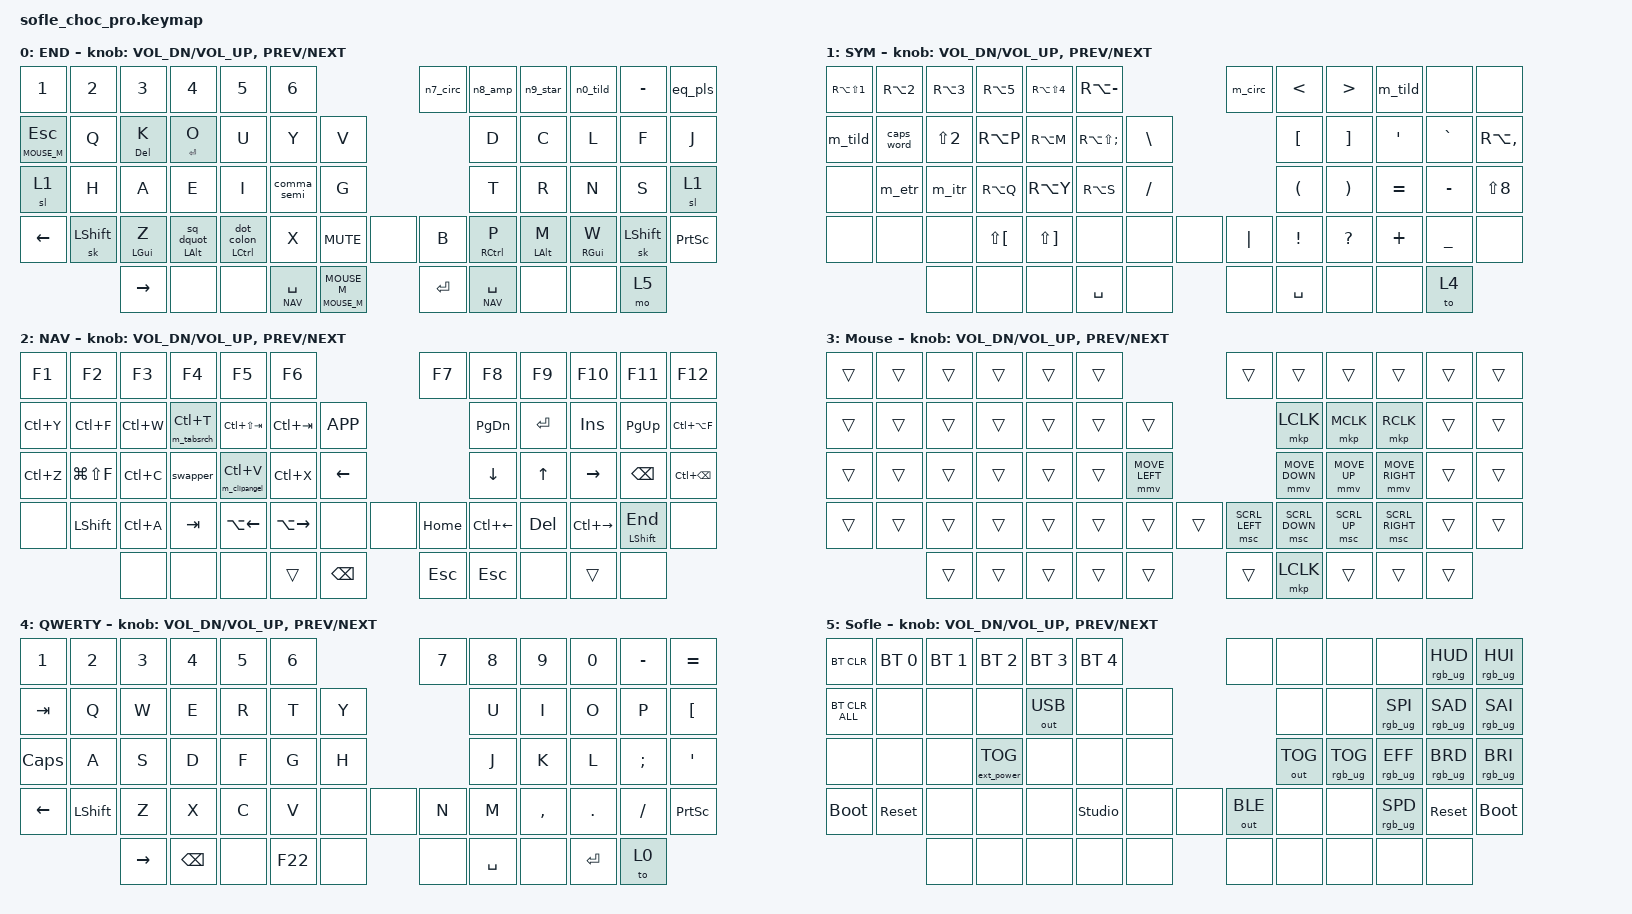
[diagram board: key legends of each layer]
/*
 * anymak:END for Sofle Choc Pro BT -- ZMK port
 * Ported from QMK Lily58 (holykeebs) keymap_v29.c
 *
 * OS layout assumed: Windows US International (Right-Alt = AltGr)
 *
 * Layers:
 *   0  END       base layer (anymak:END)
 *   1  SYM       symbols, diacritics, special characters
 *   2  NAV       navigation + editor shortcuts (SpaceFn)
 *   3  MOUSE_M   empty layer reserved for custom macros, mouse controls,
 *                and DaVinci Resolve shortcuts
 *   4  QWERTY    passthrough for Kanata on host
 *   5  sofle     profile management, output select, Studio unlock
 *
 *
 * ── Build requirement: zmk-tri-state module ────────────────────────────────
 * The `swapper` behavior (real Alt-Tab, see below) uses
 * `compatible = "zmk,behavior-tri-state"`, which is NOT part of mainline
 * ZMK -- it must be pulled in as an external module. Add this entry to
 * config/west.yml under `manifest: projects:` (alongside the existing zmkfirmware/zmk
 * entry, keep everything else in that file as-is):
 *
 *   - name: zmk-tri-state
 *     remote: urob
 *     revision: main
 *
 * and this to `remotes:` if not already present:
 *
 *   - name: urob
 *     url-base: https://github.com/urob
 *
 * Then add `- zmk-tri-state` to the `shield`/`board` build's module list if
 * your build.yaml enumerates modules explicitly (most GitHub Actions setups
 * pick it up automatically once it's a west project). Without this module
 * the firmware will fail to build, not silently ignore `&swapper`.
 *
 *
 * ── Other differences from the QMK version ────────────────────────────────
 *   - POINTER layer removed -- no pointing device on this board.
 *   - M_ETR/M_ITR: ZMK macros cannot detect shift state; two separate macro
 *     bindings are provided: m_etr (e) / m_etr_u (E) and m_itr (i) / m_itr_u
 *     (I),  the uppercase version not assigned yet
 *   - CapsWord: ZMK's built-in &caps_word is used (breaks on Space).
 *   - raw_hid layer-visualiser communication: no ZMK equivalent; omitted.
 *
 */

#define ZMK_POINTING_DEFAULT_MOVE_VAL 1000 // 600
#define ZMK_POINTING_DEFAULT_SCRL_VAL 20  // 10

#include <behaviors.dtsi>
#include <dt-bindings/zmk/bt.h>
#include <dt-bindings/zmk/ext_power.h>
#include <dt-bindings/zmk/keys.h>
#include <dt-bindings/zmk/outputs.h>
#include <dt-bindings/zmk/pointing.h>
#include <dt-bindings/zmk/rgb.h>

// ── Layer indices ─────────────────────────────────────────────────────────

#define ENDE      0
#define SYM       1
#define NAV       2
#define MOUSE_M   3
#define QWERTY    4
#define SOFLE     5

// ── Timing ─────────────────────────────────────────────────────────────────

#define DUAL_ROLE_HOLD_TAP   280
#define HT_TERM   220
#define SPC_TERM  200

// ── Mouse cursor acceleration ───────────────────────────────────────────────
// &mmv is zmk,behavior-input-two-axis (app/dts/bindings/behaviors/
// zmk,behavior-input-two-axis.yaml). Its label is already resolvable here
// because <dt-bindings/zmk/pointing.h> (included above) is what brings the
// mmv/msc behavior nodes into scope -- this block just overrides two of its
// properties, it doesn't redefine the behavior.
//   time-to-max-speed-ms: how long you have to hold a direction before the
//     cursor reaches full speed. ZMK's default is 300 -- quite quick, so it
//     barely feels like it's accelerating. Raised to 900 here for a clearly
//     gradual ramp: slow and precise right after pressing, faster the
//     longer you hold.
//   acceleration-exponent: shapes the ramp curve rather than its length.
//     0 = no ramp at all, jumps straight to max speed. 1 (ZMK's default) is
//     roughly linear. 2 keeps the early part of the hold slower/more
//     controllable and then picks up more sharply as you approach
//     time-to-max-speed-ms, which is normally the more useful feel for
//     precise-vs-fast cursor work.
// Both are tunable to taste -- raise time-to-max-speed-ms further for an
// even more gradual ramp, or lower it back toward 300-500 if 900 feels too
// slow to get moving. If you also want a higher top speed (not just a
// longer ramp to the existing one), add
// `#define ZMK_POINTING_DEFAULT_MOVE_VAL 900` (default is 600) before the
// `#include <dt-bindings/zmk/pointing.h>` line above.

&mmv {
    time-to-max-speed-ms = <550>;   // was 800 which was relative long
    acceleration-exponent = <1>;    // was 2 — linear ramp, no "dead" slow start
    trigger-period-ms = <8>;        // new — default is 16; halving it is what actually
                                     // makes the motion feel fluid instead of choppy
};

// ── One-shot (sticky) quick-release ─────────────────────────────────────────
// Overrides ZMK's stock &sk (sticky-key) behavior, already brought into
// scope by <behaviors.dtsi>. This affects both &sk LSHFT bindings on the
// ENDE layer without having to touch either binding line.
//
// Default (quick-release unset) behavior: after tapping the sticky key, it
// stays "stuck" active until the *release* of the next key. In
// rolling/overlapping typing -- where key N+1 goes down before key N is
// physically up -- this creates a window in which more than one subsequent
// keypress can still see the modifier as active, since it hasn't been
// released yet. Result: rolling through a sticky-Shift tap can capitalize
// more than one character.
//
// quick-release changes the release trigger from "next key's release" to
// "next key's press": the sticky modifier is torn down the instant the
// following key goes down, before any subsequent key in the roll can
// register. That leaves only the single intended key affected.
//
// &sl (sticky layer, used for &sl 1 / SYM below) needs NO equivalent
// override: ZMK hardcodes sticky layers to quick-release by default
// already (confirmed on ZMK's sticky-layer behavior page) -- it's only
// sticky *keys* where quick-release is opt-in.
//
// This is a stock ZMK devicetree property (documented on the sticky-key
// behavior page) -- no custom behavior node is needed, and no existing
// `&sk` bindings need to change.

&sk {
    quick-release;
};

/ {
    macros {
        m_sq: m_sq {
            compatible = "zmk,behavior-macro";
            #binding-cells = <0>;
            wait-ms = <15>;
            tap-ms = <10>;
            bindings = <&kp SQT &kp SPACE>;
        };

        m_dquot: m_dquot {
            compatible = "zmk,behavior-macro";
            #binding-cells = <0>;
            wait-ms = <15>;
            tap-ms = <10>;
            bindings = <&kp LS(SQT) &kp SPACE>;
        };

        m_etr: m_etr {
            compatible = "zmk,behavior-macro";
            #binding-cells = <0>;
            wait-ms = <15>;
            tap-ms = <10>;
            bindings = <&kp LS(SQT) &kp E>;
        };

        m_etr_u: m_etr_u {
            compatible = "zmk,behavior-macro";
            #binding-cells = <0>;
            wait-ms = <15>;
            tap-ms = <10>;
            bindings = <&kp LS(SQT) &kp LS(E)>;
        };

        m_itr: m_itr {
            compatible = "zmk,behavior-macro";
            #binding-cells = <0>;
            wait-ms = <15>;
            tap-ms = <10>;
            bindings = <&kp LS(SQT) &kp I>;
        };

        m_itr_u: m_itr_u {
            compatible = "zmk,behavior-macro";
            #binding-cells = <0>;
            wait-ms = <15>;
            tap-ms = <10>;
            bindings = <&kp LS(SQT) &kp LS(I)>;
        };

        m_circ: m_circ {
            compatible = "zmk,behavior-macro";
            #binding-cells = <0>;
            wait-ms = <0>;
            tap-ms = <10>;
            bindings = <&kp LS(N6)>;
        };

        m_tild: m_tild {
            compatible = "zmk,behavior-macro";
            #binding-cells = <0>;
            wait-ms = <0>;
            tap-ms = <10>;
            bindings = <&kp LS(GRAVE)>;
        };

        m_circ_lit: m_circ_lit {
            compatible = "zmk,behavior-macro";
            #binding-cells = <0>;
            wait-ms = <15>;
            tap-ms = <10>;
            bindings = <&kp LS(N6) &kp SPACE>;
        };

        m_tild_lit: m_tild_lit {
            compatible = "zmk,behavior-macro";
            #binding-cells = <0>;
            wait-ms = <15>;
            tap-ms = <10>;
            bindings = <&kp LS(GRAVE) &kp SPACE>;
        };

        m_tabsrch: m_tabsrch {
            compatible = "zmk,behavior-macro";
            #binding-cells = <0>;
            wait-ms = <0>;
            tap-ms = <10>;
            bindings = <&kp LC(LS(A))>;
        };

        m_clipangel: m_clipangel {
            compatible = "zmk,behavior-macro";
            #binding-cells = <0>;
            wait-ms = <0>;
            tap-ms = <10>;
            bindings = <&kp LC(LS(LA(V)))>;
        };
    };

    behaviors {
        sq_dquot: sq_dquot {
            compatible = "zmk,behavior-mod-morph";
            #binding-cells = <0>;
            bindings = <&m_sq>, <&m_dquot>;

            mods = <(MOD_LSFT|MOD_RSFT)>;
        };

        spc_nav: spc_nav {
            compatible = "zmk,behavior-hold-tap";
            #binding-cells = <2>;
            flavor = "balanced";        // was "hold-preferred" and likely the cause of unexpected deletions / trigger of nav-layer while typing
            tapping-term-ms = <SPC_TERM>;
            bindings = <&mo>, <&kp>;
        };

        o_ret: o_ret {
            compatible = "zmk,behavior-hold-tap";
            #binding-cells = <2>;
            flavor = "tap-preferred";
            tapping-term-ms = <HT_TERM>;
            bindings = <&kp>, <&kp>;
        };

        k_del: k_del {
            compatible = "zmk,behavior-hold-tap";
            #binding-cells = <2>;
            flavor = "tap-preferred";
            tapping-term-ms = <HT_TERM>;
            bindings = <&kp>, <&kp>;
        };

        ht_qalt: ht_qalt {
            compatible = "zmk,behavior-hold-tap";
            #binding-cells = <2>;
            flavor = "balanced";
            tapping-term-ms = <HT_TERM>;
            bindings = <&kp>, <&sq_dquot>;
        };

        dot_ctl: dot_ctl {
            compatible = "zmk,behavior-hold-tap";
            #binding-cells = <2>;
            flavor = "balanced";
            tapping-term-ms = <HT_TERM>;
            bindings = <&kp>, <&dot_colon>;
        };

        end_sft: end_sft {
            compatible = "zmk,behavior-hold-tap";
            #binding-cells = <2>;
            flavor = "balanced";
            tapping-term-ms = <HT_TERM>;
            bindings = <&kp>, <&kp>;
        };

        mt_b: mt_b {
            compatible = "zmk,behavior-hold-tap";
            #binding-cells = <2>;
            flavor = "balanced";
            tapping-term-ms = <HT_TERM>;
            bindings = <&kp>, <&kp>;
        };

        ht_newtab: ht_newtab {
            compatible = "zmk,behavior-hold-tap";
            #binding-cells = <2>;
            flavor = "tap-preferred";
            tapping-term-ms = <DUAL_ROLE_HOLD_TAP>;
            bindings = <&m_tabsrch>, <&kp>;
        };

        ht_paste: ht_paste {
            compatible = "zmk,behavior-hold-tap";
            #binding-cells = <2>;
            flavor = "tap-preferred";
            tapping-term-ms = <DUAL_ROLE_HOLD_TAP>;
            bindings = <&m_clipangel>, <&kp>;
        };

        n7_circ: n7_circ {
            compatible = "zmk,behavior-mod-morph";
            #binding-cells = <0>;
            bindings = <&kp N7>, <&m_circ_lit>;

            mods = <(MOD_LSFT|MOD_RSFT)>;
        };

        n0_tild: n0_tild {
            compatible = "zmk,behavior-mod-morph";
            #binding-cells = <0>;
            bindings = <&kp N0>, <&m_tild_lit>;

            mods = <(MOD_LSFT|MOD_RSFT)>;
        };

        // lt_hp: layer-tap, hold-preferred. The stock &lt behavior
        // (app/dts/behaviors/layer_tap.dtsi) defaults to flavor =
        // "tap-preferred", which only resolves to hold once the key has
        // been held ALONE for the full tapping-term with nothing else
        // pressed. That's the wrong flavor for "hold this key, then chord
        // other keys while it's held" -- e.g. holding ESC to reach the
        // mouse layer and immediately pressing a movement key -- since
        // releasing before the term elapses (very easy to do) resolves as
        // a bare tap, and the buffered keypress replays on whatever layer
        // was active before, not the intended one. hold-preferred resolves
        // to hold the moment another key is pressed, which is what this
        // needs; it's the same flavor spc_nav already uses for the same
        // kind of hold-a-key-then-chord pattern (SpaceFn -> NAV).

        lt_hp: lt_hp {
            compatible = "zmk,behavior-hold-tap";
            #binding-cells = <2>;
            flavor = "hold-preferred";
            tapping-term-ms = <HT_TERM>;
            bindings = <&mo>, <&kp>;
        };

        // mo_tog_hp: momentary-layer on hold, toggle-layer on tap. Takes two
        // params (hold layer, tap layer) -- pass the same layer number for
        // both, e.g. `&mo_tog_hp MOUSE_M MOUSE_M`, to get "hold for quick
        // access, tap to latch it on". Same hold-preferred reasoning as
        // lt_hp above: the point of holding this key is almost always to
        // immediately chord it with another key on the target layer (e.g.
        // hold + tap &mmv MOVE_LEFT), so hold must resolve the instant that
        // second key is pressed rather than waiting out the full
        // tapping-term alone. tap-preferred was considered and rejected for
        // the same reason lt_hp isn't tap-preferred: it would swallow/
        // misroute that chorded keypress on quick holds.

        mo_tog_hp: mo_tog_hp {
            compatible = "zmk,behavior-hold-tap";
            #binding-cells = <2>;
            flavor = "hold-preferred";
            tapping-term-ms = <HT_TERM>;
            bindings = <&mo>, <&tog>;
        };

        // comma_semi / dot_colon: same pattern, replacing ko_comma_semi /
        // ko_dot_colon below. SEMI is a bare (unshifted) keycode, so masking
        // the real Shift and sending it plain gives ";". COLON is already
        // LS(SEMICOLON) -- confirmed directly from ZMK's keys.h -- so with
        // the real Shift masked, its own embedded shift still gives ":".

        comma_semi: comma_semi {
            compatible = "zmk,behavior-mod-morph";
            #binding-cells = <0>;
            bindings = <&kp COMMA>, <&kp SEMI>;

            mods = <(MOD_LSFT|MOD_RSFT)>;
        };

        dot_colon: dot_colon {
            compatible = "zmk,behavior-mod-morph";
            #binding-cells = <0>;
            bindings = <&kp DOT>, <&kp COLON>;

            mods = <(MOD_LSFT|MOD_RSFT)>;
        };

        // n8_amp / n9_star: same pattern as n7_circ / n0_tild above, bound
        // directly at the key position instead of going through the
        // key_overrides node. AMPS = LS(N7) and ASTRK = LS(N8) already carry
        // their own explicit shift, so no macro/unlatch step is needed here
        // the way it is for the dead-key circumflex/tilde.

        n8_amp: n8_amp {
            compatible = "zmk,behavior-mod-morph";
            #binding-cells = <0>;
            bindings = <&kp N8>, <&kp AMPS>;

            mods = <(MOD_LSFT|MOD_RSFT)>;
        };

        n9_star: n9_star {
            compatible = "zmk,behavior-mod-morph";
            #binding-cells = <0>;
            bindings = <&kp N9>, <&kp ASTRK>;

            mods = <(MOD_LSFT|MOD_RSFT)>;
        };

        // eq_pls: mirrors QMK's KC_EQL case. PLUS = LS(EQUAL) already carries
        // its own shift, so unshifted taps correctly send "+". On a shifted
        // tap the mod-morph masks the real Shift before invoking the second
        // binding, so &kp EQUAL goes out bare -- i.e. "=" -- instead of
        // stacking with the still-held physical Shift. ENDE-only, matching
        // the QMK comment that this swap must not leak onto SYM/NAV.

        eq_pls: eq_pls {
            compatible = "zmk,behavior-mod-morph";
            #binding-cells = <0>;
            bindings = <&kp PLUS>, <&kp EQUAL>;

            mods = <(MOD_LSFT|MOD_RSFT)>;
        };

        // swapper: real Alt-Tab, matching the Kanata (multi (layer-while-held
        // navigation) + virtualkey alt) / (macro press-virtualkey alt ... tab)
        // construct. Requires the zmk-tri-state module -- see the header
        // comment at the top of this file for the west.yml entry needed.
        // First tap: registers/holds Alt (via &kt, a toggle) and taps Tab.
        // Each subsequent tap while still active: taps Tab only, Alt stays
        // held throughout -- this is what keeps the Windows switcher open.
        // The moment the NAV layer deactivates (i.e. Space is released),
        // that layer change is what fires the third (interrupt) binding,
        // which is &kt LALT again -- toggling Alt back off. No separate
        // release-safety-net logic is needed the way QMK's
        // layer_state_set_user had one: tri-state's own interrupt handling
        // covers it.
        // The configuration has been augmented to intercept and ignore the navigation
        // layer and key positions 14, 16, 17, 30-33, and 40-41 so multi-key operations
        // do not break the Alt state.

        swapper: swapper {
            compatible = "zmk,behavior-tri-state";
            #binding-cells = <0>;
            bindings = <&kt LALT>, <&kp TAB>, <&kt LALT>;

            ignored-layers = <NAV>;
            ignored-key-positions = <14 16 17 30 31 32 33 40 41>;
        };
    };

    combos {
        compatible = "zmk,combos";

        combo_dcl {
            timeout-ms = <20>; // TODO: adjust potentially shorter or longer to be sure no lcd-roll will trigger ENTER by accident
            key-positions = <19 20 21>;
            bindings = <&kp RET>;
            layers = <0>;
        };
    };

    keymap {
        compatible = "zmk,keymap";

        end_layer {
            display-name = "END";
            bindings = <
&kp N1              &kp N2     &kp N3        &kp N4           &kp N5            &kp N6                                   &n7_circ            &n8_amp        &n9_star      &n0_tild      &kp MINUS  &eq_pls
&lt_hp MOUSE_M ESC  &kp Q      &k_del DEL K  &o_ret RET O     &kp U             &kp Y               &kp V                                    &kp D          &kp C         &kp L         &kp F      &kp J
&sl 1               &kp H      &kp A         &kp E            &kp I             &comma_semi         &kp G                                    &kp T          &kp R         &kp N         &kp S      &sl 1
&kp LEFT            &sk LSHFT  &mt_b LGUI Z  &ht_qalt LALT 0  &dot_ctl LCTRL 0  &kp X               &kp K_MUTE  &none    &kp B               &mt_b RCTRL P  &mt_b LALT M  &mt_b RGUI W  &sk LSHFT  &kp PSCRN
                               &kp RIGHT     &none            &none             &spc_nav NAV SPACE  &mo_tog_hp MOUSE_M MOUSE_M    &kp RET  &spc_nav NAV SPACE  &none          &none         &mo 5
            >;

            sensor-bindings = <&inc_dec_kp C_VOL_DN C_VOL_UP &inc_dec_kp C_PREV C_NEXT>;
        };

        sym_layer {
            display-name = "SYM";
            bindings = <
&kp RA(LS(N1))  &kp RA(N2)  &kp RA(N3)  &kp RA(N5)    &kp RA(LS(N4))  &kp RA(MINUS)                      &m_circ    &kp LT    &kp GT     &m_tild    &none      &none
&m_tild         &caps_word  &kp LS(N2)  &kp RA(P)     &kp RA(M)       &kp RA(LS(SEMI))  &kp BSLH                    &kp LBKT  &kp RBKT   &kp SQT    &kp GRAVE  &kp RA(COMMA)
&none           &m_etr      &m_itr      &kp RA(Q)     &kp RA(Y)       &kp RA(S)         &kp FSLH                    &kp LPAR  &kp RPAR   &kp EQUAL  &kp MINUS  &kp LS(N8)
&none           &none       &none       &kp LS(LBKT)  &kp LS(RBKT)    &none             &none     &none  &kp PIPE   &kp EXCL  &kp QMARK  &kp PLUS   &kp UNDER  &none
                            &none       &none         &none           &kp SPACE         &none     &none  &kp SPACE  &none     &none      &to 4
            >;

            sensor-bindings = <&inc_dec_kp C_VOL_DN C_VOL_UP &inc_dec_kp C_PREV C_NEXT>;
        };

        nav_layer {
            display-name = "NAV";
            bindings = <
&kp F1     &kp F2         &kp F3     &kp F4              &kp F5             &kp F6                             &kp F7    &kp F8        &kp F9   &kp F10        &kp F11             &kp F12
&kp LC(Y)  &kp LC(F)      &kp LC(W)  &ht_newtab 0 LC(T)  &kp LC(LS(TAB))    &kp LC(TAB)    &kp K_APP                     &kp PG_DN     &kp RET  &kp INS        &kp PG_UP           &kp LC(LA(F))
&kp LC(Z)  &kp LG(LS(F))  &kp LC(C)  &swapper            &ht_paste 0 LC(V)  &kp LC(X)      &kp LEFT                      &kp DOWN      &kp UP   &kp RIGHT      &kp BSPC            &kp LC(BSPC)
&none      &kp LSHFT      &kp LC(A)  &kp TAB             &kp LA(LEFT)       &kp LA(RIGHT)  &none      &none    &kp HOME  &kp LC(LEFT)  &kp DEL  &kp LC(RIGHT)  &end_sft LSHFT END  &none
                          &none      &none               &none              &trans         &kp BSPC   &kp ESC  &kp ESC   &none         &trans   &none
            >;

            sensor-bindings = <&inc_dec_kp C_VOL_DN C_VOL_UP &inc_dec_kp C_PREV C_NEXT>;
        };

        mouse_layer {
            display-name = "Mouse";
            bindings = <
&trans  &trans  &trans  &trans  &trans  &trans                          &trans          &trans          &trans        &trans           &trans  &trans
&trans  &trans  &trans  &trans  &trans  &trans  &trans                                  &mkp LCLK       &mkp MCLK     &mkp RCLK        &trans  &trans
&trans  &trans  &trans  &trans  &trans  &trans  &mmv MOVE_LEFT                          &mmv MOVE_DOWN  &mmv MOVE_UP  &mmv MOVE_RIGHT  &trans  &trans
&trans  &trans  &trans  &trans  &trans  &trans  &trans          &trans  &msc SCRL_LEFT  &msc SCRL_DOWN  &msc SCRL_UP  &msc SCRL_RIGHT  &trans  &trans
                &trans  &trans  &trans  &trans  &trans          &trans  &mkp LCLK       &trans          &trans        &trans
            >;

            sensor-bindings = <&inc_dec_kp C_VOL_DN C_VOL_UP &inc_dec_kp C_PREV C_NEXT>;
        };

        qwerty_layer {
            display-name = "QWERTY";
            bindings = <
&kp N1        &kp N2     &kp N3           &kp N4         &kp N5  &kp N6                 &kp N7     &kp N8  &kp N9     &kp N0   &kp MINUS  &kp EQUAL
&kp TAB       &kp Q      &kp W            &kp E          &kp R   &kp T    &kp Y                    &kp U   &kp I      &kp O    &kp P      &kp LBKT
&kp CAPSLOCK  &kp A      &kp S            &kp D          &kp F   &kp G    &kp H                    &kp J   &kp K      &kp L    &kp SEMI   &kp SQT
&kp LEFT      &kp LSHFT  &kp Z            &kp X          &kp C   &kp V    &none  &none  &kp N      &kp M   &kp COMMA  &kp DOT  &kp FSLH   &kp PRINTSCREEN
                         &kp RIGHT_ARROW  &kp BACKSPACE  &none   &kp F22  &none  &none  &kp SPACE  &none   &kp ENTER  &to 0
            >;

            sensor-bindings = <&inc_dec_kp C_VOL_DN C_VOL_UP &inc_dec_kp C_PREV C_NEXT>;
        };

        sofle_layer {
            display-name = "Sofle";
            bindings = <
&bt BT_CLR      &bt BT_SEL 0  &bt BT_SEL 1  &bt BT_SEL 2       &bt BT_SEL 3  &bt BT_SEL 4                  &none         &none         &none            &none            &rgb_ug RGB_HUD  &rgb_ug RGB_HUI
&bt BT_CLR_ALL  &none         &none         &none              &out OUT_USB  &none           &none                       &none         &none            &rgb_ug RGB_SPI  &rgb_ug RGB_SAD  &rgb_ug RGB_SAI
&none           &none         &none         &ext_power EP_TOG  &none         &none           &none                       &out OUT_TOG  &rgb_ug RGB_TOG  &rgb_ug RGB_EFF  &rgb_ug RGB_BRD  &rgb_ug RGB_BRI
&bootloader     &sys_reset    &none         &none              &none         &studio_unlock  &none  &none  &out OUT_BLE  &none         &none            &rgb_ug RGB_SPD  &sys_reset       &bootloader
                              &none         &none              &none         &none           &none  &none  &none         &none         &none            &none
            >;

            sensor-bindings = <&inc_dec_kp C_VOL_DN C_VOL_UP &inc_dec_kp C_PREV C_NEXT>;
        };
    };
};
